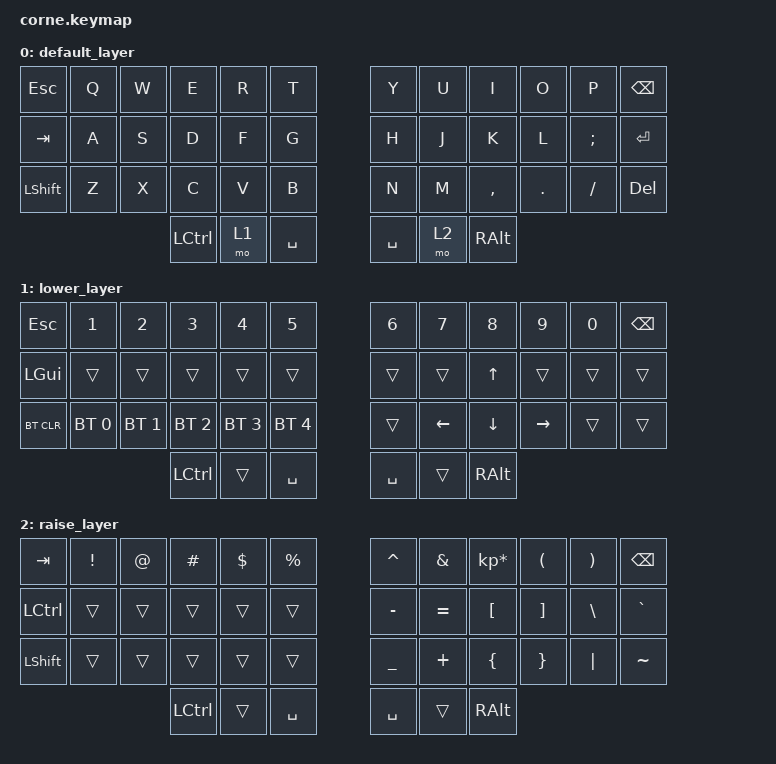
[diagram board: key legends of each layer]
/*
 * Copyright (c) 2020 The ZMK Contributors
 *
 * SPDX-License-Identifier: MIT
 */

#include <behaviors.dtsi>
#include <dt-bindings/zmk/keys.h>
#include <dt-bindings/zmk/bt.h>

/ {
        keymap {
                compatible = "zmk,keymap";

                default_layer {
// -----------------------------------------------------------------------------------------
// | ESC  |  Q  |  W  |  E  |  R  |  T  |   |  Y  |  U   |  I  |  O  |  P  | BKSP |
// | TAB  |  A  |  S  |  D  |  F  |  G  |   |  H  |  J   |  K  |  L  |  ;  | ENT  |
// | SHFT |  Z  |  X  |  C  |  V  |  B  |   |  N  |  M   |  ,  |  .  |  /  | DEL  |
//                    | CTRL| LWR | SPC |   | SPC | RSE  | ALT |
                        bindings = <
   &kp ESC   &kp Q &kp W &kp E &kp R &kp T   &kp Y &kp U  &kp I     &kp O   &kp P    &kp BSPC
   &kp TAB   &kp A &kp S &kp D &kp F &kp G   &kp H &kp J  &kp K     &kp L   &kp SEMI &kp RET
   &kp LSHFT &kp Z &kp X &kp C &kp V &kp B   &kp N &kp M  &kp COMMA &kp DOT &kp FSLH &kp DEL
                  &kp LCTRL &mo 1 &kp SPACE  &kp SPACE &mo 2 &kp RALT
                        >;
                };
                lower_layer {
// -----------------------------------------------------------------------------------------
// |  ESC |  1  |  2  |  3  |  4  |  5  |   |  6  |  7  |  8  |  9  |  0  | BKSP |
// | LGUI |     |     |     |     |     |   |     |     | UP  |     |     |      |
// | BTCLR| BT1 | BT2 | BT3 | BT4 | BT5 |   |     | LFT | DWN | RGT |     |      |
//                    | CTRL|     | SPC |   | SPC |     | ALT |
                        bindings = <
   &kp ESC    &kp N1       &kp N2       &kp N3       &kp N4        &kp N5       &kp N6    &kp N7   &kp N8    &kp N9    &kp N0  &kp BSPC
   &kp LGUI   &trans       &trans       &trans       &trans        &trans       &trans    &trans   &kp UP    &trans    &trans  &trans
   &bt BT_CLR &bt BT_SEL 0 &bt BT_SEL 1 &bt BT_SEL 2 &bt BT_SEL 3  &bt BT_SEL 4 &trans    &kp LEFT &kp DOWN  &kp RIGHT &trans  &trans
                          	        &kp LCTRL    &trans        &kp SPACE    &kp SPACE &trans   &kp RALT
                        >;
                };

                raise_layer {
// -----------------------------------------------------------------------------------------
// |  TAB |  !  |  @  |  #  |  $  |  %  |   |  ^  |  &  |  *  |  (  |  )  | BKSP |
// | CTRL |     |     |     |     |     |   |  -  |  =  |  [  |  ]  |  \  |  `   |
// | SHFT |     |     |     |     |     |   |  _  |  +  |  {  |  }  | "|" |  ~   |
//                    | GUI |     | SPC |   | SPC |     | ALT |
                        bindings = <
   &kp  TAB  &kp EXCL &kp AT &kp HASH  &kp DLLR &kp PRCNT   &kp CARET &kp AMPS  &kp KP_MULTIPLY &kp LPAR &kp RPAR &kp BSPC
   &kp LCTRL &trans   &trans &trans    &trans   &trans      &kp MINUS &kp EQUAL &kp LBKT        &kp RBKT &kp BSLH &kp GRAVE
   &kp LSHFT &trans   &trans &trans    &trans   &trans      &kp UNDER &kp PLUS  &kp LBRC        &kp RBRC &kp PIPE &kp TILDE
                    	     &kp LCTRL &trans   &kp SPACE   &kp SPACE &trans    &kp RALT
                        >;
                };
        };
};
